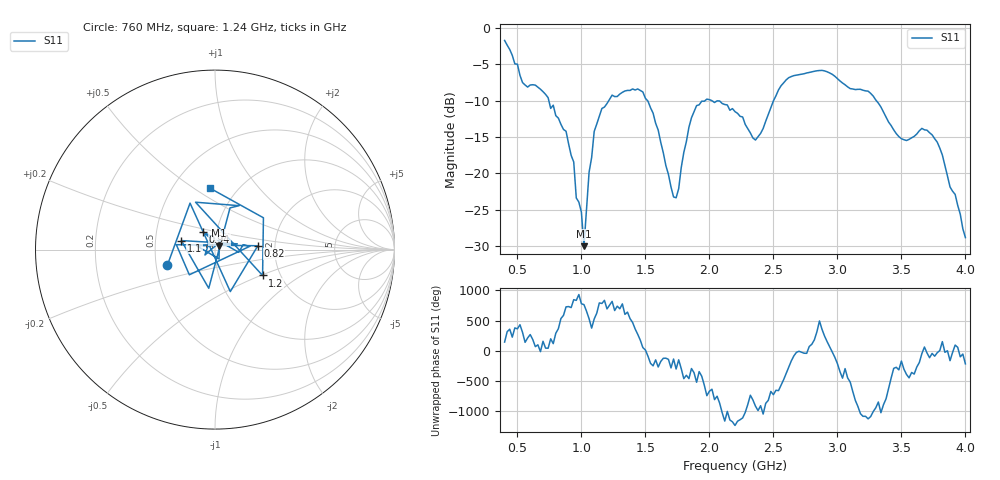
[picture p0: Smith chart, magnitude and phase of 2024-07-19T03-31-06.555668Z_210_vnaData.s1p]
!Created with skrf (http://scikit-rf.org).
# Hz S RI R 50.0
!freq ReS11 ImS11
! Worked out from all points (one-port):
!   181 points, 400 MHz to 4 GHz, reference 50 ohm
!   lowest |S11| = -30.0 dB at 1.02 GHz (marker M1), VSWR 1.07, Z = 52.4 + j2.21 ohm
!   |S11| at or under -10 dB: 745.4 MHz to 1.214 GHz (468.5 MHz wide, 47.8 % of centre); 2.018 GHz to 2.501 GHz (483.7 MHz wide, 21.4 % of centre); 3.304 GHz to end of sweep (the widest 3 of 4)
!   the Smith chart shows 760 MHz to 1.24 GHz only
!   S11 on the Smith chart (normalised r, x): 760 MHz: 0.57, -0.11; 820 MHz: 1.62, +0.07; 940 MHz: 0.86, +0.17; 1.1 GHz: 0.68, +0.07; 1.2 GHz: 1.62, -0.51; 1.24 GHz: 0.75, +0.58
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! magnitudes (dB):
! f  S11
! 400 MHz  -1.7
! 540 MHz  -7.5
! 760 MHz  -11.1
! 820 MHz  -12.4
! 860 MHz  -14.0
! 940 MHz  -18.4
! 960 MHz  -23.4
! 1 GHz  -25.3
! 1.02 GHz  -30.0
! 1.06 GHz  -19.8
! 1.1 GHz  -14.2
! 1.2 GHz  -10.4
! 1.24 GHz  -9.3
! 1.3 GHz  -9.1
! 1.48 GHz  -8.8
! 1.6 GHz  -14.1
! 1.72 GHz  -23.2
! 1.76 GHz  -22.1
! 1.84 GHz  -13.7
! 1.9 GHz  -10.7
! 2.2 GHz  -11.5
! 2.36 GHz  -15.4
! 2.66 GHz  -6.6
! 3.1 GHz  -8.4
! 3.24 GHz  -8.7
! 3.56 GHz  -15.3
! 3.78 GHz  -15.7
! 4 GHz  -28.8
